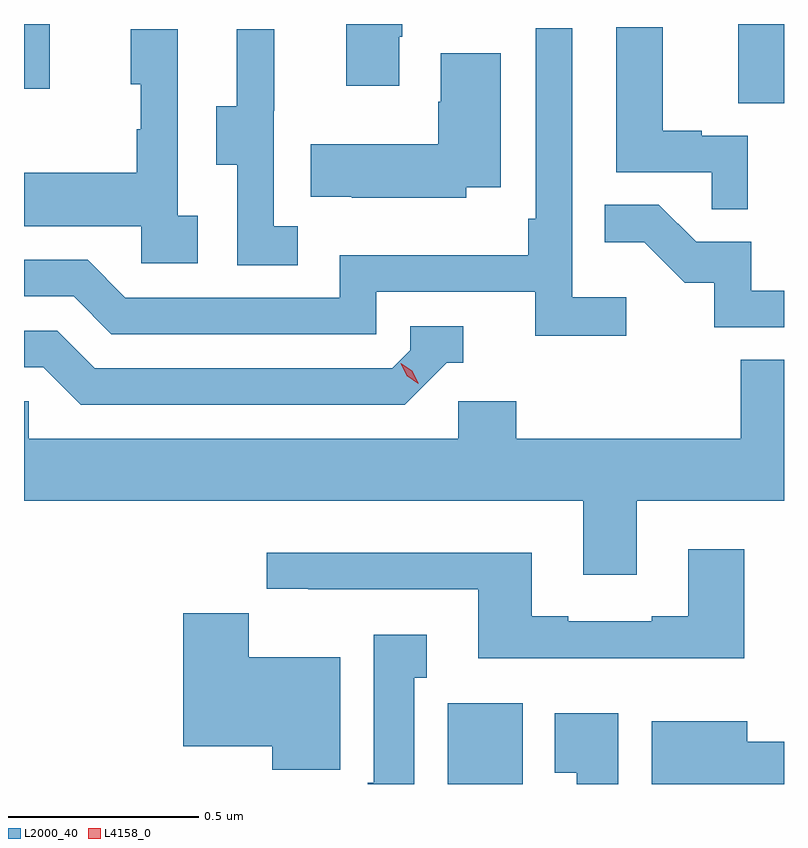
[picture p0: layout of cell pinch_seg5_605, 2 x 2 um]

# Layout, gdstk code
import gdstk
lib = gdstk.Library(unit=1e-6, precision=1e-09)
def R(c, l, rs):  # rectangles x0, y0, x1, y1
    for r in rs: c.add(gdstk.rectangle(r[:2], r[2:], *l))
def P(c, l, *ps):  # polygons
    for p in ps: c.add(gdstk.Polygon(p, *l))
L2000_40 = (2000, 40)
L4158_0 = (4158, 0)

pinch_seg5_605 = lib.new_cell('pinch_seg5_605')
R(pinch_seg5_605, L2000_40, [(1107.086,857.347,1107.283,857.56), (1107.851,859.138,1107.971,859.347), (1105.971,859.176,1106.039,859.347)])
P(pinch_seg5_605, L2000_40, [(1106.959,859.313),(1106.967,859.313),(1106.967,859.347),(1106.819,859.347),(1106.819,859.185),(1106.959,859.185)],
  [(1107.876,859.053),(1107.755,859.053),(1107.755,859.066),(1107.652,859.066),(1107.652,859.339),(1107.53,859.339),(1107.53,858.957),(1107.781,858.957),(1107.781,858.859),(1107.876,858.859)],
  [(1107.556,858.628),(1107.414,858.628),(1107.414,859.336),(1107.318,859.336),(1107.318,858.835),(1107.298,858.835),(1107.298,858.739),(1106.802,858.739),(1106.802,858.627),(1106.238,858.627),(1106.139,858.726),(1105.971,858.726),(1105.971,858.63),(1106.102,858.63),(1106.201,858.531),(1106.898,858.531),(1106.898,858.642),(1107.317,858.642),(1107.317,858.526),(1107.556,858.526)],
  [(1106.428,858.842),(1106.376,858.842),(1106.376,859.333),(1106.252,859.333),(1106.252,859.188),(1106.278,859.188),(1106.278,859.07),(1106.268,859.07),(1106.268,858.955),(1105.971,858.955),(1105.971,858.815),(1106.28,858.815),(1106.28,858.717),(1106.428,858.717)],
  [(1106.692,858.815),(1106.628,858.815),(1106.628,859.119),(1106.63,859.119),(1106.63,859.333),(1106.531,859.333),(1106.531,859.131),(1106.477,859.131),(1106.477,858.976),(1106.532,858.976),(1106.532,858.712),(1106.692,858.712)],
  [(1107.135,858.917),(1107.226,858.917),(1107.226,859.27),(1107.068,859.27),(1107.068,859.142),(1107.061,859.142),(1107.061,859.03),(1106.725,859.03),(1106.725,858.893),(1106.833,858.893),(1106.833,858.89),(1107.135,858.89)],
  [(1107.971,858.645),(1107.885,858.645),(1107.885,858.774),(1107.74,858.774),(1107.642,858.872),(1107.499,858.872),(1107.499,858.773),(1107.603,858.773),(1107.71,858.666),(1107.787,858.666),(1107.787,858.549),(1107.971,858.549)],
  [(1107.084,858.456),(1107.127,858.456),(1107.127,858.552),(1106.988,858.552),(1106.988,858.489),(1106.94,858.441),(1106.157,858.441),(1106.058,858.54),(1105.971,858.54),(1105.971,858.444),(1106.021,858.444),(1106.12,858.345),(1106.973,858.345)],
  [(1107.583,858.092),(1107.971,858.092),(1107.971,858.464),(1107.857,858.464),(1107.857,858.256),(1107.266,858.256),(1107.266,858.354),(1107.114,858.354),(1107.114,858.256),(1105.983,858.256),(1105.983,858.354),(1105.971,858.354),(1105.971,858.092),(1107.443,858.092),(1107.443,857.898),(1107.583,857.898)],
  [(1107.867,857.965),(1107.719,857.965),(1107.719,857.788),(1107.623,857.788),(1107.623,857.775),(1107.403,857.775),(1107.403,857.788),(1107.307,857.788),(1107.307,857.956),(1106.61,857.956),(1106.61,857.861),(1106.719,857.861),(1106.719,857.859),(1107.167,857.859),(1107.167,857.678),(1107.867,857.678)],
  [(1106.803,857.68),(1106.563,857.68),(1106.563,857.796),(1106.39,857.796),(1106.39,857.447),(1106.624,857.447),(1106.624,857.384),(1106.803,857.384)],
  [(1106.998,857.627),(1107.031,857.627),(1107.031,857.74),(1106.891,857.74),(1106.891,857.35),(1106.876,857.35),(1106.876,857.347),(1106.998,857.347)],
  [(1107.535,857.533),(1107.368,857.533),(1107.368,857.377),(1107.425,857.377),(1107.425,857.347),(1107.535,857.347)],
  [(1107.971,857.458),(1107.874,857.458),(1107.874,857.512),(1107.623,857.512),(1107.623,857.347),(1107.971,857.347)])
P(pinch_seg5_605, L4158_0, [(1107.009,858.4),(1106.978,858.421),(1106.962,858.454),(1106.962,858.454),(1106.963,858.454),(1106.993,858.434),(1107.009,858.401),(1107.009,858.4)])

lib.write_gds('pinch_seg5_605.gds')
